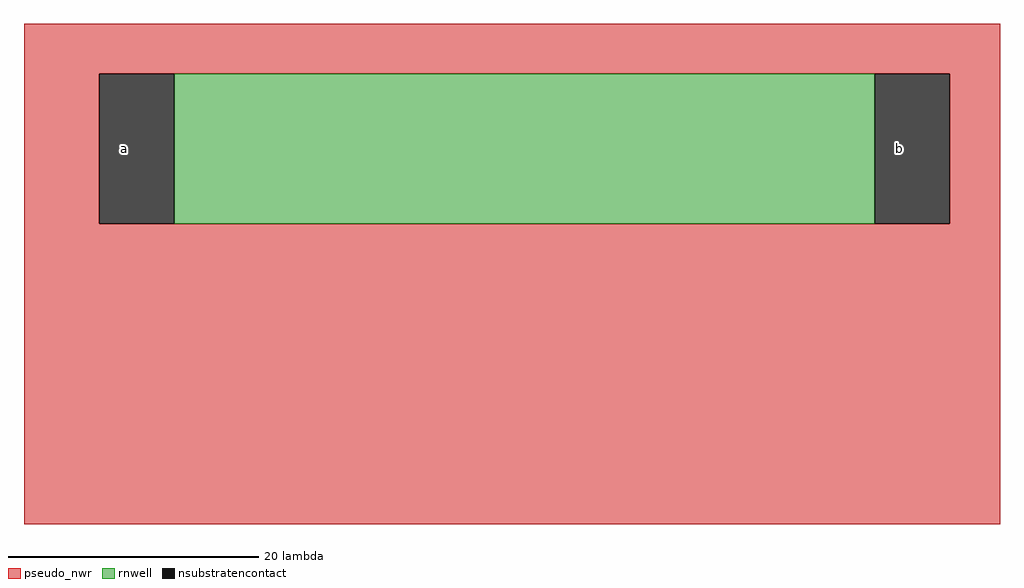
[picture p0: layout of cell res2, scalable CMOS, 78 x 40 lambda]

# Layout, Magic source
magic
tech scmos
<< nsubstratencontact >>
rect -31 7 -25 19
rect 31 7 37 19
<< rnwell >>
rect -25 7 31 19
<< pseudo_nwr >>
rect -37 19 41 23
rect -37 7 -31 19
rect 37 7 41 19
rect -37 -17 41 7
<< labels >>
rlabel nsubstratencontact -29 13 -29 13 1 a
rlabel nsubstratencontact 33 13 33 13 1 b
<< end >>
